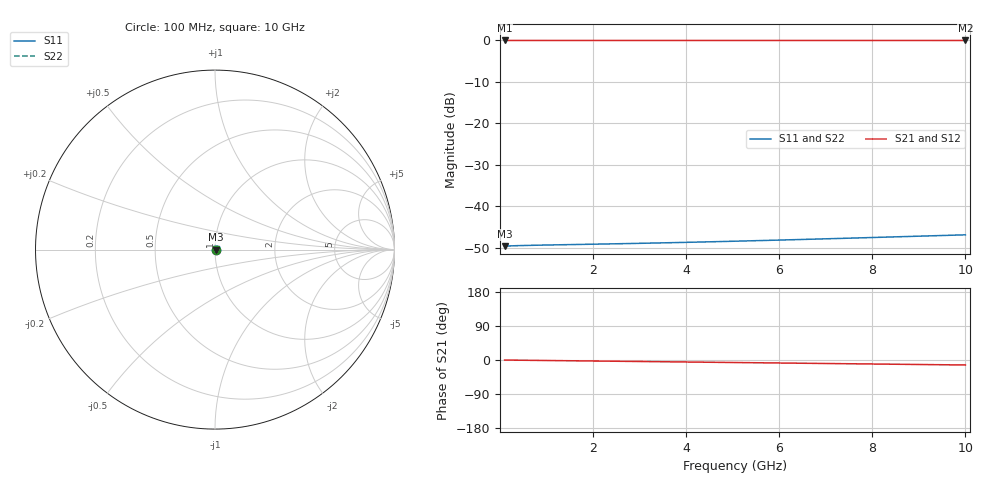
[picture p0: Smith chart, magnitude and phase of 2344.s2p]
# Hz S RI R 50.00
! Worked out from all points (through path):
!   100 points, 100 MHz to 10 GHz, reference 50 ohm
!   highest |S21| = -0.03 dB at 100 MHz (marker M1); lowest = 0.0 dB at 10 GHz (marker M2)
!   group delay of S21, straight-line fit = 3.66 ps
!   lowest |S11| = -49.7 dB at 100 MHz (marker M3), VSWR 1.01, Z = 50.3 + j0.00204 ohm
!   |S11| at or under -10 dB: start of sweep to end of sweep
!   |S22| runs from -49.7 to -46.9 dB; largest |S21 - S12| = 0
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1e8  0.00329 2.03e-05  0.9967 -0.00229  0.9967 -0.00229  0.00329 2.03e-05
2e8  0.00331 4.05e-05  0.9967 -0.00458  0.9967 -0.00458  0.00331 4.05e-05
3e8  0.00333 6.06e-05  0.9966 -0.00687  0.9966 -0.00687  0.00333 6.06e-05
4e8  0.00334 8.07e-05  0.9966 -0.00916  0.9966 -0.00916  0.00334 8.07e-05
6e8  0.00336 0.000121  0.9965 -0.0137  0.9965 -0.0137  0.00336 0.000121
8e8  0.00338 0.000161  0.9964 -0.0183  0.9964 -0.0183  0.00338 0.000161
1e9  0.00339 0.000201  0.9963 -0.0229  0.9963 -0.0229  0.00339 0.000201
1.8e9  0.00344 0.000359  0.9957 -0.0412  0.9957 -0.0412  0.00344 0.000359
2.6e9  0.00349 0.000515  0.9947 -0.0595  0.9947 -0.0595  0.00349 0.000515
3e9  0.00351 0.000592  0.9941 -0.0687  0.9941 -0.0687  0.00351 0.000592
3.4e9  0.00354 0.000668  0.9934 -0.0778  0.9934 -0.0778  0.00354 0.000668
3.8e9  0.00356 0.000744  0.9926 -0.0869  0.9926 -0.0869  0.00356 0.000744
4.2e9  0.00359 0.000819  0.9918 -0.0961  0.9918 -0.0961  0.00359 0.000819
4.6e9  0.00362 0.000894  0.9908 -0.1052  0.9908 -0.1052  0.00362 0.000894
5.1e9  0.00365 0.000986  0.9895 -0.1166  0.9895 -0.1166  0.00365 0.000986
5.5e9  0.00368 0.00106  0.9884 -0.1257  0.9884 -0.1257  0.00368 0.00106
5.9e9  0.00372 0.00113  0.9872 -0.1348  0.9872 -0.1348  0.00372 0.00113
6.7e9  0.00379 0.00127  0.9845 -0.1529  0.9845 -0.1529  0.00379 0.00127
7.5e9  0.00386 0.00141  0.9815 -0.171  0.9815 -0.171  0.00386 0.00141
8.4e9  0.00395 0.00156  0.9777 -0.1913  0.9777 -0.1913  0.00395 0.00156
9.2e9  0.00404 0.00169  0.974 -0.2093  0.974 -0.2093  0.00404 0.00169
1e10  0.00413 0.00181  0.9699 -0.2272  0.9699 -0.2272  0.00413 0.00181
